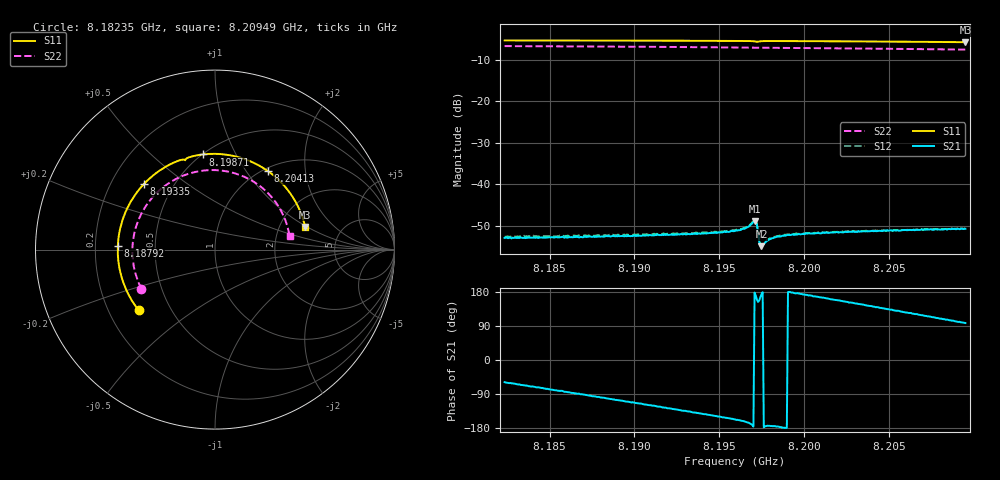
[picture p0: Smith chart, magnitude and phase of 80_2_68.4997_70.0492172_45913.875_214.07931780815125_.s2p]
#  HZ  S  RI  R  50.00
! Rohde & Schwarz Vector Network Analyzer
! Rohde-Schwarz,ZNB20-2Port,1311601062101988,3.16
! Created: UTC 3/20/2024, 5:07:16 PM
! freq[Hz]  re:S11  im:S11  re:S21  im:S21  re:S12  im:S12  re:S22  im:S22
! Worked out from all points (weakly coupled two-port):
!   401 points, 8.18235 GHz to 8.20949 GHz, reference 50 ohm
!   highest |S21| = -48.80 dB at 8.19708 GHz (marker M1); lowest = -54.9 dB at 8.19749 GHz (marker M2)
!   lowest |S11| = -5.7 dB at 8.20949 GHz (marker M3), VSWR 3.15, Z = 139 + j47.8 ohm
!   |S11| at or under -10 dB: nowhere
!   |S22| runs from -7.5 to -6.7 dB; largest |S21 - S12| = 0.00021
!   S11 on the Smith chart (normalised r, x): 8.18235 GHz: 0.33, -0.32; 8.18792 GHz: 0.30, +0.02; 8.19335 GHz: 0.34, +0.35; 8.19871 GHz: 0.50, +0.75; 8.20413 GHz: 1.05, +1.27; 8.20949 GHz: 2.78, +0.96
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8.182355e9  -0.4244 -0.3392  0.00119 -0.00194  0.00118 -0.00203  -0.4097 -0.2189
8.184662e9  -0.5041 -0.2009  0.000592 -0.00221  0.00058 -0.00231  -0.4517 -0.0979
8.186901e9  -0.5398 -0.0493  -1.42e-05 -0.00232  -7.51e-05 -0.00242  -0.4591 0.0262
8.187918e9  -0.5412 0.0217  -0.000305 -0.00235  -0.000376 -0.0024  -0.4514 0.0822
8.189682e9  -0.5216 0.1432  -0.000831 -0.00225  -0.000898 -0.00229  -0.4219 0.1755
8.191447e9  -0.4748 0.2575  -0.00134 -0.00205  -0.00147 -0.00209  -0.3728 0.2603
8.193346e9  -0.3963 0.3652  -0.00186 -0.00172  -0.00196 -0.00171  -0.3009 0.3377
8.195925e9  -0.2517 0.4743  -0.00253 -0.00109  -0.00264 -0.00103  -0.1775 0.4119
8.196468e9  -0.2163 0.4906  -0.00277 -0.000907  -0.0029 -0.000805  -0.1488 0.4222
8.197078e9  -0.1711 0.5012  -0.00363 0.000124  -0.00374 0.000234  -0.1155 0.4312
8.197146e9  -0.1668 0.4995  -0.00356 0.000623  -0.00363 0.000824  -0.1118 0.432
8.197417e9  -0.16 0.5065  -0.00176 0.000445  -0.00178 0.000508  -0.0972 0.4353
8.197485e9  -0.1554 0.5095  -0.00179 0.000203  -0.00181 0.000274  -0.0933 0.4359
8.197553e9  -0.1505 0.5119  -0.00186 3.09e-05  -0.00188 8.22e-05  -0.0896 0.4366
8.19796e9  -0.1209 0.521  -0.00217 -0.000238  -0.00223 -0.000149  -0.0669 0.4402
8.198707e9  -0.068 0.53  -0.00241 -7.22e-05  -0.00245 3.33e-05  -0.0245 0.4431
8.200471e9  0.0568 0.5295  -0.00252 0.000468  -0.00258 0.000575  0.0751 0.434
8.202303e9  0.1822 0.498  -0.00239 0.00111  -0.00239 0.00122  0.1744 0.4007
8.204135e9  0.2961 0.4366  -0.00212 0.00174  -0.00207 0.00184  0.2635 0.3437
8.205017e9  0.3448 0.3975  -0.00191 0.00203  -0.00187 0.00208  0.301 0.3087
8.207324e9  0.4468 0.2701  -0.00123 0.00258  -0.00113 0.00265  0.3778 0.1972
8.209495e9  0.5022 0.1261  -0.000385 0.0029  -0.0003 0.00294  0.4152 0.0731
